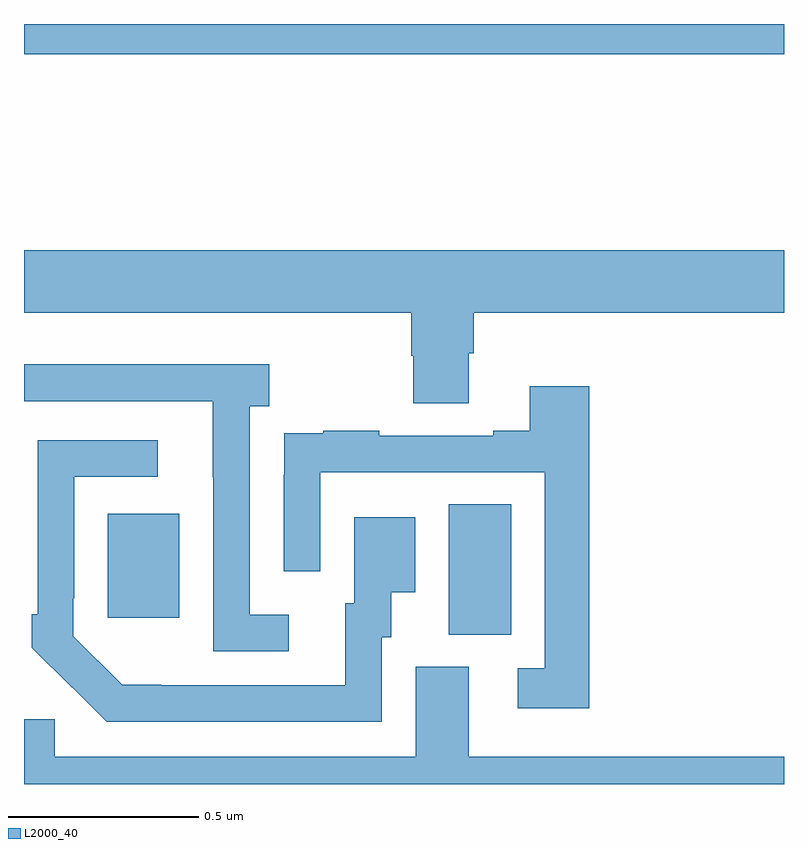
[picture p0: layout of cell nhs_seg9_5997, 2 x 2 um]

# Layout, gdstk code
import gdstk
lib = gdstk.Library(unit=1e-6, precision=1e-09)
def R(c, l, rs):  # rectangles x0, y0, x1, y1
    for r in rs: c.add(gdstk.rectangle(r[:2], r[2:], *l))
def P(c, l, *ps):  # polygons
    for p in ps: c.add(gdstk.Polygon(p, *l))
L2000_40 = (2000, 40)

nhs_seg9_5997 = lib.new_cell('nhs_seg9_5997')
R(nhs_seg9_5997, L2000_40, [(187.118,1208.893,187.282,1209.236), (186.221,1208.937,186.409,1209.211), (186,1210.42,188,1210.5)])
P(nhs_seg9_5997, L2000_40, [(187.171,1209.634),(187.184,1209.634),(187.184,1209.74),(188,1209.74),(188,1209.904),(186,1209.904),(186,1209.74),(187.019,1209.74),(187.019,1209.627),(187.024,1209.627),(187.024,1209.502),(187.171,1209.502)],
  [(186.697,1208.946),(186.594,1208.946),(186.594,1209.494),(186.646,1209.494),(186.646,1209.604),(186,1209.604),(186,1209.507),(186.497,1209.507),(186.497,1209.307),(186.498,1209.307),(186.498,1208.85),(186.697,1208.85)],
  [(187.487,1209.547),(187.331,1209.547),(187.331,1209.43),(187.235,1209.43),(187.235,1209.417),(186.935,1209.417),(186.935,1209.43),(186.787,1209.43),(186.787,1209.423),(186.685,1209.423),(186.685,1209.314),(186.684,1209.314),(186.684,1209.06),(186.78,1209.06),(186.78,1209.321),(187.371,1209.321),(187.371,1208.805),(187.299,1208.805),(187.299,1208.7),(187.487,1208.7)],
  [(186.942,1208.886),(186.967,1208.886),(186.967,1209.005),(187.03,1209.005),(187.03,1209.202),(186.869,1209.202),(186.869,1208.976),(186.845,1208.976),(186.845,1208.76),(186.361,1208.76),(186.361,1208.761),(186.258,1208.761),(186.129,1208.889),(186.129,1208.989),(186.132,1208.989),(186.132,1209.309),(186.352,1209.309),(186.352,1209.405),(186.036,1209.405),(186.036,1208.947),(186.021,1208.947),(186.021,1208.859),(186.126,1208.754),(186.127,1208.755),(186.218,1208.664),(186.942,1208.664)],
  [(188,1208.572),(187.171,1208.572),(187.171,1208.808),(187.031,1208.808),(187.031,1208.572),(186.081,1208.572),(186.081,1208.67),(186,1208.67),(186,1208.5),(188,1208.5)])

lib.write_gds('nhs_seg9_5997.gds')
